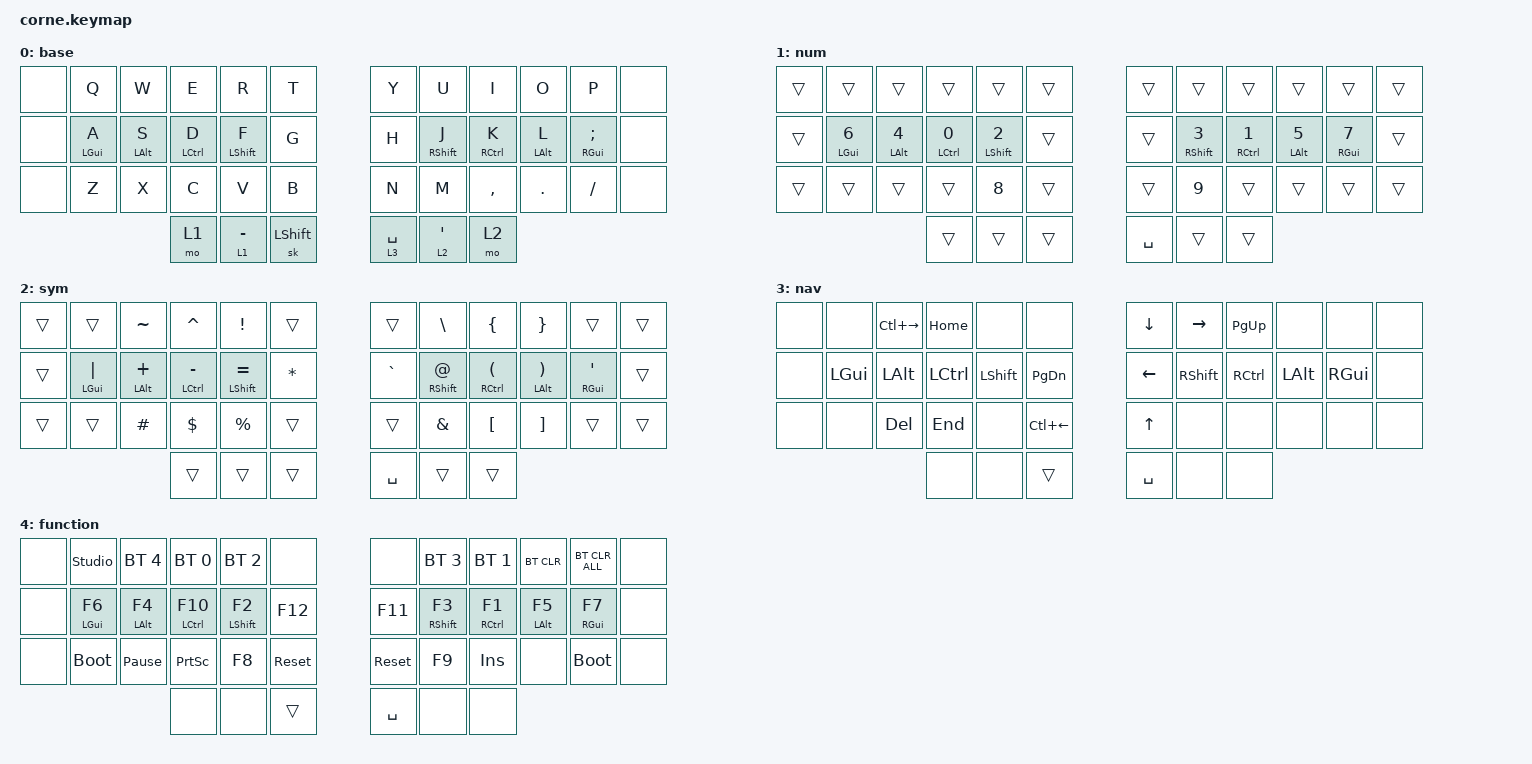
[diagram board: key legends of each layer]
/*
 * Copyright (c) 2020 The ZMK Contributors
 *
 * SPDX-License-Identifier: MIT
 */

#include <behaviors.dtsi>
#include <dt-bindings/zmk/bt.h>
#include <dt-bindings/zmk/keys.h>

&sk {
    quick-release;
    release-after-ms = <200>;

    /delete-property/ ignore-modifiers;
};

&lt {
    quick-tap-ms = <150>;
    tapping-term-ms = <200>;
    retro-tap;
};

/ {
    combos {
        compatible = "zmk,combos";

        tab {
            bindings = <&kp TAB>;
            key-positions = <2 3>;
            timeout-ms = <50>;
            layers = <0 1 2 3>;
            slow-release;
        };

        backspace {
            bindings = <&kp BSPC>;
            key-positions = <8 9>;
            timeout-ms = <50>;
            layers = <0 1 2>;
            slow-release;
        };

        escape {
            bindings = <&kp ESC>;
            key-positions = <26 27>;
            timeout-ms = <50>;
            layers = <0 1 2 3>;
            slow-release;
        };

        enter {
            bindings = <&kp ENTER>;
            key-positions = <32 33>;
            timeout-ms = <50>;
            layers = <0 1 2>;
            slow-release;
        };

        function {
            bindings = <&mo 4>;
            key-positions = <37 40>;
            timeout-ms = <50>;
            slow-release;
            layers = <0>;
        };

        function-alt {
            bindings = <&mo 4>;
            key-positions = <36 41>;
            timeout-ms = <50>;
            slow-release;
            layers = <0>;
        };
    };

    behaviors {
        mt_l: mt_l {
            compatible = "zmk,behavior-hold-tap";
            label = "MT_L";
            bindings = <&kp>, <&kp>;

            #binding-cells = <2>;
            tapping-term-ms = <250>;
            hold-trigger-key-positions = <36 37 38 39 40 41 6 7 8 9 10 11 18 19 20 21 22 23 30 31 32 33 34 35 40 41>;
            hold-trigger-on-release;
            require-prior-idle-ms = <100>;
            quick-tap-ms = <150>;
            flavor = "balanced";
        };

        mt_r: mt_r {
            compatible = "zmk,behavior-hold-tap";
            label = "MT_R";
            bindings = <&kp>, <&kp>;

            #binding-cells = <2>;
            tapping-term-ms = <250>;
            hold-trigger-key-positions = <41 40 39 38 37 36 0 1 2 3 4 5 12 13 14 15 16 17 24 25 26 27 28 29>;
            hold-trigger-on-release;
            require-prior-idle-ms = <100>;
            quick-tap-ms = <150>;
            flavor = "balanced";
        };
    };

    keymap {
        compatible = "zmk,keymap";

        base {
            // -----------------------------------------------------------------------------------------
            // |  TAB |  Q  |  W  |  E  |  R  |  T  |   |  Y  |  U   |  I  |  O  |  P  | BSPC |
            // | CTRL |  A  |  S  |  D  |  F  |  G  |   |  H  |  J   |  K  |  L  |  ;  |  '   |
            // | SHFT |  Z  |  X  |  C  |  V  |  B  |   |  N  |  M   |  ,  |  .  |  /  | ESC  |
            //                    | GUI | LWR | SPC |   | ENT | RSE  | ALT |

            bindings = <
&none  &kp Q         &kp W         &kp E          &kp R          &kp T        &kp Y        &kp U               &kp I          &kp O         &kp P            &none
&none  &mt_l LGUI A  &mt_l LALT S  &mt_l LCTRL D  &mt_l LSHFT F  &kp G        &kp H        &mt_r RSHFT J       &mt_r RCTRL K  &mt_r LALT L  &mt_r RGUI SEMI  &none
&none  &kp Z         &kp X         &kp C          &kp V          &kp B        &kp N        &kp M               &kp COMMA      &kp DOT       &kp FSLH         &none
                                   &mo 1          &lt 1 MINUS    &sk LSHFT    &lt 3 SPACE  &lt 2 SINGLE_QUOTE  &mo 2
            >;
        };

        num {
            bindings = <
&trans  &trans         &trans         &trans          &trans          &trans    &trans     &trans          &trans          &trans         &trans         &trans
&trans  &mt_l LGUI N6  &mt_l LALT N4  &mt_l LCTRL N0  &mt_l LSHFT N2  &trans    &trans     &mt_r RSHFT N3  &mt_r RCTRL N1  &mt_r LALT N5  &mt_r RGUI N7  &trans
&trans  &trans         &trans         &trans          &kp N8          &trans    &trans     &kp N9          &trans          &trans         &trans         &trans
                                      &trans          &trans          &trans    &kp SPACE  &trans          &trans
            >;
        };

        sym {
            bindings = <
&trans  &trans           &kp TILDE        &kp CARET          &kp EXCL           &trans          &trans     &kp BSLH        &kp LBRC          &kp RBRC         &trans                   &trans
&trans  &mt_l LGUI PIPE  &mt_l LALT PLUS  &mt_l LCTRL MINUS  &mt_l LSHFT EQUAL  &kp ASTERISK    &kp GRAVE  &mt_r RSHFT AT  &mt_r RCTRL LPAR  &mt_r LALT RPAR  &mt_r RGUI SINGLE_QUOTE  &trans
&trans  &trans           &kp HASH         &kp DOLLAR         &kp PERCENT        &trans          &trans     &kp AMPS        &kp LBKT          &kp RBKT         &trans                   &trans
                                          &trans             &trans             &trans          &kp SPACE  &trans          &trans
            >;
        };

        nav {
            bindings = <
&none  &none     &kp LC(RIGHT)  &kp HOME   &none      &none           &kp DOWN      &kp RIGHT  &kp PG_UP  &none     &none     &none
&none  &kp LGUI  &kp LALT       &kp LCTRL  &kp LSHFT  &kp PG_DN       &kp LEFT      &kp RSHFT  &kp RCTRL  &kp LALT  &kp RGUI  &none
&none  &none     &kp DEL        &kp END    &none      &kp LC(LEFT)    &kp UP_ARROW  &none      &none      &none     &none     &none
                                &none      &none      &trans          &kp SPACE     &none      &none
            >;
        };

        function {
            bindings = <
&none  &studio_unlock  &bt BT_SEL 4     &bt BT_SEL 0     &bt BT_SEL 2    &none         &none       &bt BT_SEL 3    &bt BT_SEL 1    &bt BT_CLR     &bt BT_CLR_ALL  &none
&none  &mt_l LGUI F6   &mt_l LALT F4    &mt_l LCTRL F10  &mt_l LSHFT F2  &kp F12       &kp F11     &mt_r RSHFT F3  &mt_r RCTRL F1  &mt_r LALT F5  &mt_r RGUI F7   &none
&none  &bootloader     &kp PAUSE_BREAK  &kp PRINTSCREEN  &kp F8          &sys_reset    &sys_reset  &kp F9          &kp INSERT      &none          &bootloader     &none
                                        &none            &none           &trans        &kp SPACE   &none           &none
            >;
        };
    };

    conditional_layers { compatible = "zmk,conditional-layers"; };
};
